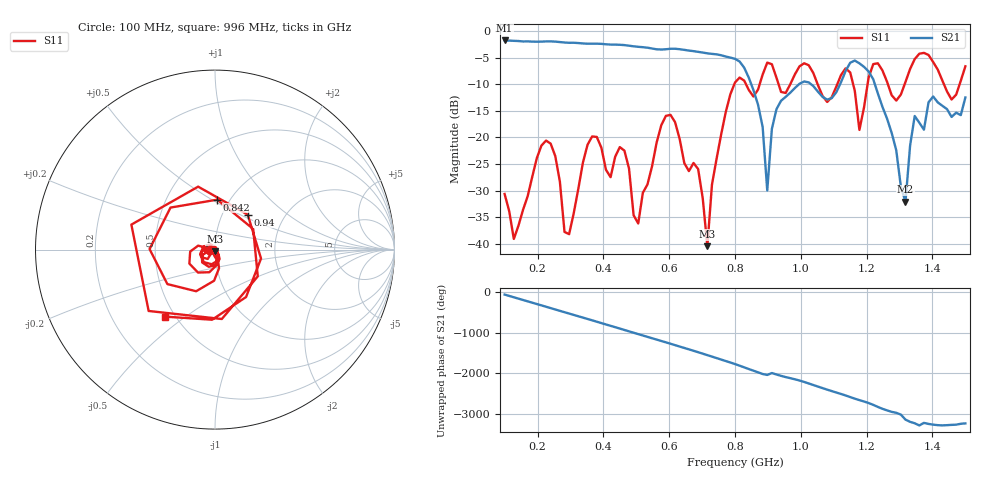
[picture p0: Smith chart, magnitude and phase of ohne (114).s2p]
! NanoVNA-App
! Date: 2025-09-25 14:21:41
! Start: 100MHz Stop: 1,5GHz Points: 101
! S-Parameter data: F S11 S21 S12 S22
# Hz S RI R 50
!  Frequency  S11_Real  S11_Imag  S21_Real  S21_Imag  S12_Real  S12_Imag  S22_Real  S22_Imag
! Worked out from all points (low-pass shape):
!   101 points, 100 MHz to 1.5 GHz, reference 50 ohm
!   highest |S21| = -1.79 dB at 100 MHz (marker M1); lowest = -32.1 dB at 1.318 GHz (marker M2)
!   |S21| within 3 dB of the highest: start of sweep to 770.7 MHz
!   lowest |S11| = -40.4 dB at 716 MHz (marker M3), VSWR 1.02, Z = 49.9 - j0.939 ohm
!   |S11| at or under -10 dB: start of sweep to 798 MHz; 833.2 MHz to 875.1 MHz (41.88 MHz wide, 4.9 % of centre); 1.051 GHz to 1.111 GHz (59.94 MHz wide, 5.55 % of centre) (the widest 3 of 7)
!   S12 and S22 are empty: the file has one direction only
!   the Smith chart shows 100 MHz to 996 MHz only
!   S11 on the Smith chart (normalised r, x): 100 MHz: 0.94, -0.01; 842 MHz: 0.88, +0.53; 940 MHz: 1.31, +0.55; 996 MHz: 0.44, -0.42
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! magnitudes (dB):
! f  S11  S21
! 100 MHz  -30.6  -1.8
! 128 MHz  -39.1  -1.9
! 226 MHz  -20.6  -2.0
! 296 MHz  -38.2  -2.2
! 338 MHz  -24.7  -2.4
! 464 MHz  -22.5  -2.7
! 506 MHz  -36.2  -3.0
! 576 MHz  -17.7  -3.5
! 688 MHz  -26.0  -3.9
! 716 MHz  -40.4  -4.2
! 800 MHz  -9.7  -5.2
! 842 MHz  -11.1  -8.8
! 898 MHz  -6.0  -30.0
! 940 MHz  -11.5  -13.1
! 996 MHz  -6.7  -9.9
! 1.038 GHz  -7.9  -10.4
! 1.164 GHz  -11.3  -5.6
! 1.178 GHz  -18.6  -6.1
! 1.276 GHz  -12.1  -19.2
! 1.318 GHz  -9.6  -32.1
! 1.346 GHz  -5.3  -16.0
! 1.5 GHz  -6.7  -12.5
